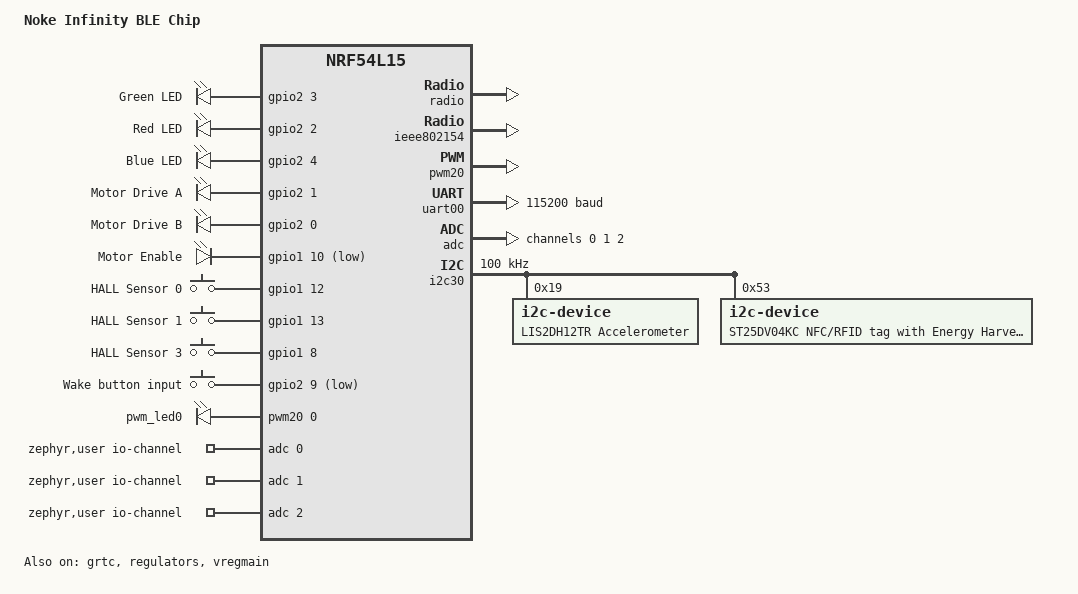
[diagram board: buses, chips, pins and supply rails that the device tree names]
/dts-v1/;
#include <nordic/nrf54l15_cpuapp.dtsi>
#include "INF600096-pinctrl.dtsi"

/ {
	model = "Noke Infinity BLE Chip";
	compatible = "Noke,INF600096-cpuapp";

	chosen {
		zephyr,code-partition = &slot0_partition;
		zephyr,sram = &cpuapp_sram;
		zephyr,flash = &cpuapp_rram;
		zephyr,ieee802154 = &ieee802154;
	};

	leds {
		compatible="gpio-leds";
		led0: led_0 {
			gpios = <&gpio2 3 GPIO_ACTIVE_HIGH>;
			label = "Green LED";
		};
		led1: led_1 {
			gpios = <&gpio2 2 GPIO_ACTIVE_HIGH>;
			label = "Red LED";
		};
		led2: led_2 {
			gpios = <&gpio2 4 GPIO_ACTIVE_HIGH>;
			label = "Blue LED";
		};
		led3: led_3 {
			gpios = <&gpio2 1 GPIO_ACTIVE_HIGH>;
			label = "Motor Drive A ";
		};
		led4: led_4 {
			gpios = <&gpio2 0 GPIO_ACTIVE_HIGH>;
			label = "Motor Drive B";
		};
		led5: led_5 {
			gpios = <&gpio1 10 GPIO_ACTIVE_LOW>;
			label = "Motor Enable";
		};
	};

	buttons {
		compatible = "gpio-keys";
		button0: button_0 {
			gpios = <&gpio1 12 GPIO_ACTIVE_HIGH>;
			label = "HALL Sensor 0";
		};
		button1: button_1 {
			gpios = <&gpio1 13 GPIO_ACTIVE_HIGH>;
			label = "HALL Sensor 1";
		};
		button2: button_2 {
			gpios = <&gpio1 8 GPIO_ACTIVE_HIGH>;
			label = "HALL Sensor 3";
		};
		button3: button_3 {
			gpios = <&gpio2 9 GPIO_ACTIVE_LOW>;
			label = "Wake button input";
		};
	};

	pwmleds {
		compatible = "pwm-leds";

		pwm_led0: pwm_led_0 {
			pwms = <&pwm20 0 PWM_MSEC(20) PWM_POLARITY_NORMAL>;
		};
	};

	aliases {
		led-green = &led0;
		led-red = &led1;
		led-blue = &led2;
		motor1 = &led4;
		motor2 = &led3;
		hall0 = &button0;
		hall1 = &button1;
		hall2 = &button2;
		buzzer = &pwm_led0;
		wake = &button3;
		motor-en = &led5;
	};

	zephyr,user {
		io-channels = <&adc 0>, <&adc 1>, <&adc 2>;
	};
};

&cpuapp_sram {
	status = "okay";
};

&grtc {
	owned-channels = <0 1 2 3 4 5 6 7 8 9 10 11>;
	/* Channels 7-11 reserved for Zero Latency IRQs, 3-4 for FLPR */
	child-owned-channels = <3 4 7 8 9 10 11>;
	status = "okay";
};

&cpuapp_rram {
	partitions {
		compatible = "fixed-partitions";
		#address-cells = <1>;
		#size-cells = <1>;
		boot_partition: partition@0 {
			label = "mcuboot";
			reg = <0x0 DT_SIZE_K(64)>;
		};
		slot0_partition: partition@10000 {
			label = "image-0";
			reg = <0x10000 DT_SIZE_K(324)>;
		};
		slot0_ns_partition: partition@61000 {
			label = "image-0-nonsecure";
			reg = <0x61000 DT_SIZE_K(324)>;
		};
		slot1_partition: partition@b2000 {
			label = "image-1";
			reg = <0xb2000 DT_SIZE_K(324)>;
		};
		slot1_ns_partition: partition@103000 {
			label = "image-1-nonsecure";
			reg = <0x103000 DT_SIZE_K(324)>;
		};
		/* 32k from 0x154000 to 0x15bfff reserved for TF-M partitions */
		storage_partition: partition@15c000 {
			label = "storage";
			reg = <0x15c000 DT_SIZE_K(36)>;
		};
	};
};

&radio {
	status = "okay";
};

&ieee802154 {
	status = "okay";
};

&regulators {
	status = "okay";
};

&vregmain {
	status = "okay";
	regulator-initial-mode = <NRF5X_REG_MODE_DCDC>;
};

&lfxo {
	load-capacitors = "external";
};

&hfxo {
	load-capacitors = "external";
};

&clock {
	status = "okay";
};

&gpio0 {
	status = "okay";
};

&gpio1 {
	status = "okay";
};

&gpio2 {
	status = "okay";
};

&gpiote20 {
	status = "okay";
};

&gpiote30 {
	status = "okay";
};

&pwm20 {
	status = "okay";
	pinctrl-0 = <&pwm20_default>;
	pinctrl-1 = <&pwm20_sleep>;
	pinctrl-names = "default", "sleep";
};

&uart00 {
	status = "okay";
	current-speed = <115200>;
	pinctrl-0 = <&uart00_default>;
	pinctrl-1 = <&uart00_sleep>;
	pinctrl-names = "default", "sleep";
};

&adc {
	#address-cells = <1>;
	#size-cells = <0>;
	status = "okay";
	channel@0 {
		reg = <0>;
		zephyr,gain = "ADC_GAIN_1_4";
		zephyr,reference = "ADC_REF_INTERNAL";
		zephyr,acquisition-time = <ADC_ACQ_TIME_DEFAULT>;
		zephyr,input-positive = <NRF_SAADC_AIN2>;
		zephyr,resolution = <14>;
	};
	channel@1 {
		reg = <1>;
		zephyr,gain = "ADC_GAIN_1_4";
		zephyr,reference = "ADC_REF_INTERNAL";
		zephyr,acquisition-time = <ADC_ACQ_TIME_DEFAULT>;
		zephyr,input-positive = <NRF_SAADC_AIN3>;
		zephyr,resolution = <14>;
	};
	channel@2 {
		reg =  <2>;
		zephyr,gain = "ADC_GAIN_1_4";
		zephyr,reference = "ADC_REF_INTERNAL";
		zephyr,acquisition-time = <ADC_ACQ_TIME_DEFAULT>;
		zephyr,input-positive = <NRF_SAADC_AIN0>;
		zephyr,input-negative = <NRF_SAADC_AIN1>;
		zephyr,resolution = <14>;
	};
};

&i2c30 {
	compatible = "nordic,nrf-twim";
	status = "okay";
	clock-frequency = <I2C_BITRATE_STANDARD>;
	pinctrl-0 = <&i2c30_default>;
	pinctrl-1 = <&i2c30_sleep>;
	pinctrl-names = "default", "sleep";

	accel: accel@19 {
		compatible = "i2c-device";
		reg = <0x19>;
		label = "LIS2DH12TR Accelerometer";
	};

	nfc: nfc@53 {
		compatible = "i2c-device";
		reg = <0x53>;
		label = "ST25DV04KC NFC/RFID tag with Energy Harvesting: Dynamic Area";
	};
};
